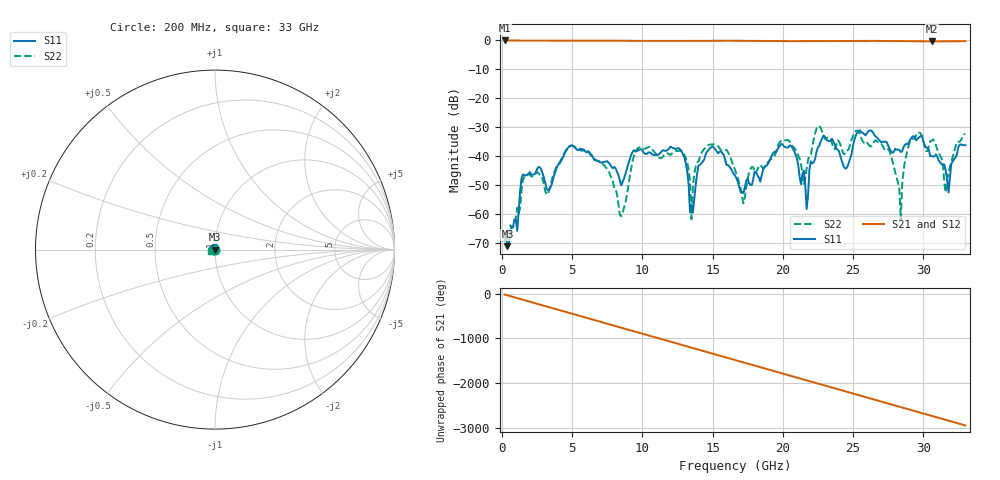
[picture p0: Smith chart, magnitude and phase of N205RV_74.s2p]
# GHZ S RI R 50
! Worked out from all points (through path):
!   329 points, 200 MHz to 33 GHz, reference 50 ohm
!   highest |S21| = -0.02 dB at 200 MHz (marker M1); lowest = -0.3 dB at 30.6 GHz (marker M2)
!   group delay of S21, straight-line fit = 248 ps
!   lowest |S11| = -71.2 dB at 400 MHz (marker M3), VSWR 1.00, Z = 50 + j0.0108 ohm
!   |S11| at or under -10 dB: start of sweep to end of sweep
!   |S22| runs from -69.6 to -29.5 dB; largest |S21 - S12| = 0.0019
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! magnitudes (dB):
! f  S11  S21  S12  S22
! 200 MHz  -68.2  0.0  0.0  -69.6
! 400 MHz  -71.2  0.0  0.0  -66.9
! 1.1 GHz  -65.9  -0.1  -0.1  -57.9
! 1.5 GHz  -46.4  -0.1  -0.1  -48.3
! 5.7 GHz  -37.6  -0.1  -0.1  -38.2
! 8.5 GHz  -50.2  -0.1  -0.1  -60.8
! 9.6 GHz  -38.3  -0.2  -0.2  -37.8
! 11.2 GHz  -39.3  -0.2  -0.2  -40.6
! 12.9 GHz  -39.5  -0.2  -0.2  -38.6
! 13.5 GHz  -56.9  -0.2  -0.2  -61.9
! 14.4 GHz  -41.3  -0.1  -0.2  -37.6
! 16.6 GHz  -46.7  -0.1  -0.1  -44.7
! 17.2 GHz  -52.9  -0.1  -0.1  -56.4
! 20.5 GHz  -36.3  -0.3  -0.3  -35.1
! 21.7 GHz  -58.4  -0.3  -0.3  -44.2
! 22.1 GHz  -42.6  -0.3  -0.3  -36.8
! 27.6 GHz  -37.5  -0.2  -0.2  -38.3
! 28.4 GHz  -38.6  -0.3  -0.3  -61.9
! 29 GHz  -35.1  -0.3  -0.3  -35.7
! 30.6 GHz  -40.0  -0.3  -0.3  -34.7
! 31.6 GHz  -45.1  -0.3  -0.3  -52.6
! 33 GHz  -36.2  -0.3  -0.3  -32.4
